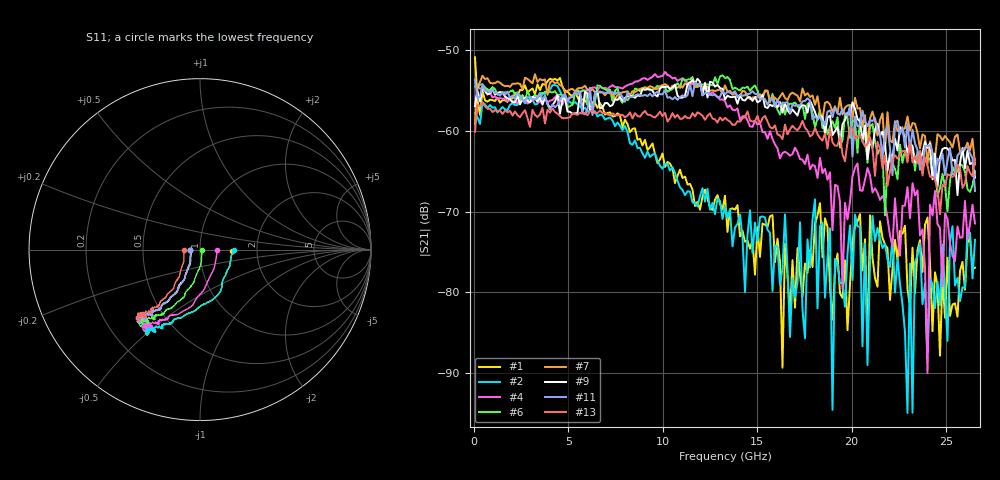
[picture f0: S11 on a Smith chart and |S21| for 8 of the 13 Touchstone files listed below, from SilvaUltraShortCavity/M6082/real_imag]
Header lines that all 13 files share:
!  2-Port S-parameters saved by WinCal
! VAR MeasName=S-Parameters (CALIBRATED_DATA) read from VNA (C)
! VAR PHYS_PORTS=2,1
! VAR ObjTypeName=DATASET
! VAR IndexType=Frequency
# Hz S RI R 50
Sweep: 45 MHz to 26.55 GHz
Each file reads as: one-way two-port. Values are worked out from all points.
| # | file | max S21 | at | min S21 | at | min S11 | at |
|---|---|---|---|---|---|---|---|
| 1 | M6082_18_15_2_2_20C_1.8mA_-16.5dBm.S2P | -50.85 dB | 45 MHz | -89.4 dB | 16.34 GHz | -14.6 dB | 840 MHz |
| 2 | M6082_18_15_2_2_20C_1.8mA_-17.5dBm.S2P | -54.31 dB | 4.285 GHz | -95.0 dB | 22.97 GHz | -14.6 dB | 840 MHz |
| 3 | M6082_18_15_2_2_20C_3.4mA_-16.5dBm.S2P | -49.64 dB | 45 MHz | -84.8 dB | 25.48 GHz | -20.2 dB | 177.5 MHz |
| 4 | M6082_18_15_2_2_20C_3.4mA_-17.5dBm.S2P | -52.68 dB | 10.12 GHz | -90.0 dB | 24.03 GHz | -20.0 dB | 177.5 MHz |
| 5 | M6082_18_15_2_2_20C_6.2mA_-16.5dBm.S2P | -52.32 dB | 442.5 MHz | -68.7 dB | 26.55 GHz | -39.9 dB | 45 MHz |
| 6 | M6082_18_15_2_2_20C_6.2mA_-17.5dBm.S2P | -53.09 dB | 13.16 GHz | -70.5 dB | 21.77 GHz | -38.9 dB | 45 MHz |
| 7 | M6082_18_15_2_2_20C_10.0mA_-16.5dBm.S2P | -52.96 dB | 3.225 GHz | -64.2 dB | 26.55 GHz | -25.2 dB | 310 MHz |
| 8 | M6082_18_15_2_2_20C_10.0mA_-17.5dBm 2.S2P | -53.72 dB | 11.97 GHz | -67.2 dB | 24.56 GHz | -25.6 dB | 177.5 MHz |
| 9 | M6082_18_15_2_2_20C_10.0mA_-17.5dBm 3.S2P | -53.52 dB | 11.84 GHz | -67.9 dB | 25.62 GHz | -25.6 dB | 177.5 MHz |
| 10 | M6082_18_15_2_2_20C_10.0mA_-17.5dBm 4.S2P | -53.60 dB | 11.97 GHz | -66.7 dB | 25.48 GHz | -25.6 dB | 177.5 MHz |
| 11 | M6082_18_15_2_2_20C_10.0mA_-17.5dBm.S2P | -53.61 dB | 45 MHz | -67.4 dB | 26.55 GHz | -25.1 dB | 310 MHz |
| 12 | M6082_18_15_2_2_20C_15.0mA_-16.5dBm.S2P | -51.63 dB | 45 MHz | -68.6 dB | 24.29 GHz | -20.3 dB | 442.5 MHz |
| 13 | M6082_18_15_2_2_20C_15.0mA_-17.5dBm.S2P | -56.45 dB | 442.5 MHz | -70.3 dB | 24.69 GHz | -20.4 dB | 442.5 MHz |
